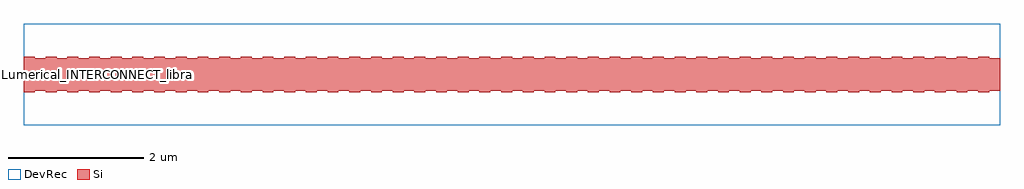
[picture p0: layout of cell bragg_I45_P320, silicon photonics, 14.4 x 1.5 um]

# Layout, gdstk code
import gdstk
lib = gdstk.Library(unit=1e-6, precision=1e-09)
def R(c, l, rs):  # rectangles x0, y0, x1, y1
    for r in rs: c.add(gdstk.rectangle(r[:2], r[2:], *l))
def A(c, l, x, y, w, h, nx, ny, dx, dy):  # array of equal rectangles
    R(c, l, [(x+i*dx, y+j*dy, x+i*dx+w, y+j*dy+h) for i in range(nx) for j in range(ny)])
Si = (1, 0)
DevRec = (68, 0)

bragg_i45_p320 = lib.new_cell('bragg_I45_P320')
A(bragg_i45_p320, Si, 0, -0.26, 0.16, 0.26, 45, 2, 0.32, 0.26)
A(bragg_i45_p320, Si, 0.16, -0.24, 0.16, 0.24, 45, 2, 0.32, 0.24)
R(bragg_i45_p320, DevRec, [(0,-0.75,14.4,0.75)])
bragg_i45_p320.add(gdstk.Label('Lumerical_INTERCONNECT_library=Design kits/ebeam', (0,0), layer=68, texttype=0))
bragg_i45_p320.add(gdstk.Label('Component=ebeam_bragg_te1550', (1.44,0), layer=68, texttype=0))
bragg_i45_p320.add(gdstk.Label('Spice_param:number_of_periods=45 grating_period=3.2e-07 corrugation_width=2e-08 misalignment=0 sinusoidal=0', (1.6,0), layer=68, texttype=0))

lib.write_gds('bragg_I45_P320.gds')
